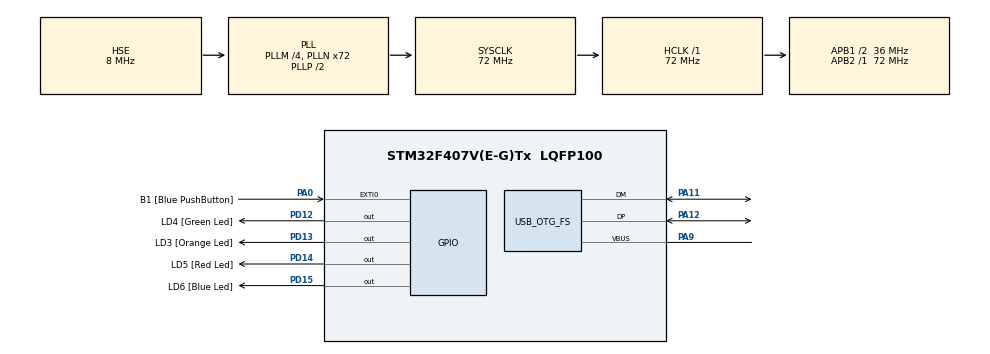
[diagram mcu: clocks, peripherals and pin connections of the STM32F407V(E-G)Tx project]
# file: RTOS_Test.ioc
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FREERTOS.Tasks01=defaultTask,24,128,StartDefaultTask,Default,NULL,Dynamic,NULL,NULL;myTask02,48,128,StartTask02,Default,NULL,Dynamic,NULL,NULL;myTask03,48,128,StartTask03,Default,NULL,Dynamic,NULL,NULL;myTask04,8,128,StartTask04,Default,NULL,Dynamic,NULL,NULL
Mcu.Family=STM32F4
Mcu.Name=STM32F407V(E-G)Tx
Mcu.Package=LQFP100
NVIC.OTG_FS_IRQn=true\:5\:0\:false\:false\:true\:true\:false\:true
NVIC.PriorityGroup=NVIC_PRIORITYGROUP_4
NVIC.TIM1_UP_TIM10_IRQn=true\:0\:0\:false\:false\:true\:false\:false\:true
NVIC.TimeBase=TIM1_UP_TIM10_IRQn
NVIC.TimeBaseIP=TIM1
PA0-WKUP.GPIO_Label=B1 [Blue PushButton]
PA0-WKUP.Signal=GPXTI0
PA11.Mode=Device_Only
PA11.Signal=USB_OTG_FS_DM
PA12.Mode=Device_Only
PA12.Signal=USB_OTG_FS_DP
PA9.Mode=Activate_VBUS
PA9.Signal=USB_OTG_FS_VBUS
PD12.GPIO_Label=LD4 [Green Led]
PD12.GPIO_PuPd=GPIO_NOPULL
PD12.GPIO_Speed=GPIO_SPEED_FREQ_LOW
PD12.Signal=GPIO_Output
PD13.GPIO_Label=LD3 [Orange Led]
PD13.GPIO_PuPd=GPIO_NOPULL
PD13.GPIO_Speed=GPIO_SPEED_FREQ_LOW
PD13.Signal=GPIO_Output
PD14.GPIO_Label=LD5 [Red Led]
PD14.GPIO_PuPd=GPIO_NOPULL
PD14.GPIO_Speed=GPIO_SPEED_FREQ_LOW
PD14.Signal=GPIO_Output
PD15.GPIO_Label=LD6 [Blue Led]
PD15.GPIO_PuPd=GPIO_NOPULL
PD15.GPIO_Speed=GPIO_SPEED_FREQ_LOW
PD15.Signal=GPIO_Output
PH0-OSC_IN.Mode=HSE-External-Oscillator
PH0-OSC_IN.Signal=RCC_OSC_IN
PH1-OSC_OUT.Mode=HSE-External-Oscillator
PH1-OSC_OUT.Signal=RCC_OSC_OUT
ProjectManager.HeapSize=0x200
ProjectManager.StackSize=0x400
ProjectManager.TargetToolchain=Makefile
RCC.48MHZClocksFreq_Value=48000000
RCC.AHBFreq_Value=72000000
RCC.APB1CLKDivider=RCC_HCLK_DIV2
RCC.APB1Freq_Value=36000000
RCC.APB1TimFreq_Value=72000000
RCC.APB2Freq_Value=72000000
RCC.APB2TimFreq_Value=72000000
RCC.CortexFreq_Value=72000000
RCC.HCLKFreq_Value=72000000
RCC.HSE_VALUE=8000000
RCC.HSI_VALUE=16000000
RCC.LSE_VALUE=32768
RCC.PLLM=4
RCC.PLLN=72
RCC.PLLQ=3
RCC.SYSCLKFreq_VALUE=72000000
RCC.SYSCLKSource=RCC_SYSCLKSOURCE_PLLCLK
RCC.VCOOutputFreq_Value=144000000
USB_DEVICE.CLASS_NAME_FS=CDC
USB_DEVICE.VirtualMode-CDC_FS=Cdc
USB_DEVICE.VirtualModeFS=Cdc_FS
USB_OTG_FS.VirtualMode=Device_Only
VP_FREERTOS_VS_CMSIS_V2.Mode=CMSIS_V2
VP_SYS_VS_tim1.Mode=TIM1
VP_USB_DEVICE_VS_USB_DEVICE_CDC_FS.Mode=CDC_FS
board=STM32F407G-DISC1

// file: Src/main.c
/* USER CODE BEGIN Header */
/**
  ******************************************************************************
  * @file           : main.c
  * @brief          : Main program body
  ******************************************************************************
  * @attention
  *
  * <h2><center>&copy; Copyright (c) 2020 STMicroelectronics.
  * All rights reserved.</center></h2>
  *
  * This software component is licensed by ST under Ultimate Liberty license
  * SLA0044, the "License"; You may not use this file except in compliance with
  * the License. You may obtain a copy of the License at:
  *                             www.st.com/SLA0044
  *
  ******************************************************************************
  */
/* USER CODE END Header */

#include "main.h"
#include "cmsis_os.h"
#include "usb_device.h"
#include "usbd_cdc_if.h"

/* Definitions for defaultTask */
osThreadId_t defaultTaskHandle;
const osThreadAttr_t defaultTask_attributes = {
  .name = "defaultTask",
  .priority = (osPriority_t) osPriorityNormal,
  .stack_size = 128 * 4
};
/* Definitions for myTask02 */
osThreadId_t myTask02Handle;
const osThreadAttr_t myTask02_attributes = {
  .name = "myTask02",
  .priority = (osPriority_t) osPriorityRealtime,
  .stack_size = 128 * 4
};
/* Definitions for myTask03 */
osThreadId_t myTask03Handle;
const osThreadAttr_t myTask03_attributes = {
  .name = "myTask03",
  .priority = (osPriority_t) osPriorityRealtime,
  .stack_size = 128 * 4
};
/* Definitions for myTask04 */
osThreadId_t myTask04Handle;
const osThreadAttr_t myTask04_attributes = {
  .name = "myTask04",
  .priority = (osPriority_t) osPriorityLow,
  .stack_size = 128 * 4
};
/* USER CODE BEGIN PV */
osThreadId_t myTask05Handle;
const osThreadAttr_t myTask05_attributes = {
  .name = "myTask05",
  .priority = (osPriority_t) osPriorityLow,
  .stack_size = 128 * 4
};
/* USER CODE END PV */

void SystemClock_Config(void);
static void MX_GPIO_Init(void);
void StartDefaultTask(void *argument);
void StartTask02(void *argument);
void StartTask03(void *argument);
void StartTask04(void *argument);
void StartTask05(void *argument);

/* USER CODE BEGIN 0 */
void vApplicationIdleHook (void){

}
/* USER CODE END 0 */

int main(void)
{

  /* MCU Configuration--------------------------------------------------------*/

  /* Reset of all peripherals, Initializes the Flash interface and the Systick. */
  HAL_Init();

  /* Configure the system clock */
  SystemClock_Config();

  /* Initialize all configured peripherals */
  MX_GPIO_Init();

  /* Init scheduler */
  osKernelInitialize();

  /* Create the thread(s) */
  /* creation of defaultTask */
  defaultTaskHandle = osThreadNew(StartDefaultTask, NULL, &defaultTask_attributes);

  /* creation of myTask02 */
  myTask02Handle = osThreadNew(StartTask02, NULL, &myTask02_attributes);

  /* creation of myTask03 */
  myTask03Handle = osThreadNew(StartTask03, NULL, &myTask03_attributes);

  /* creation of myTask04 */
  myTask04Handle = osThreadNew(StartTask04, NULL, &myTask04_attributes);

  /* USER CODE BEGIN RTOS_THREADS */
  /* creation of myTask05 */
  myTask05Handle = osThreadNew(StartTask05, NULL, &myTask05_attributes);
  /* add threads, ... */
  /* USER CODE END RTOS_THREADS */

  /* Start scheduler */
  osKernelStart();

  /* We should never get here as control is now taken by the scheduler */
  /* Infinite loop */
  while (1)
  {

  }
}

void SystemClock_Config(void)
{
  RCC_OscInitTypeDef RCC_OscInitStruct = {0};
  RCC_ClkInitTypeDef RCC_ClkInitStruct = {0};

  /** Configure the main internal regulator output voltage
  */
  __HAL_RCC_PWR_CLK_ENABLE();
  __HAL_PWR_VOLTAGESCALING_CONFIG(PWR_REGULATOR_VOLTAGE_SCALE1);
  /** Initializes the CPU, AHB and APB busses clocks
  */
  RCC_OscInitStruct.OscillatorType = RCC_OSCILLATORTYPE_HSE;
  RCC_OscInitStruct.HSEState = RCC_HSE_ON;
  RCC_OscInitStruct.PLL.PLLState = RCC_PLL_ON;
  RCC_OscInitStruct.PLL.PLLSource = RCC_PLLSOURCE_HSE;
  RCC_OscInitStruct.PLL.PLLM = 4;
  RCC_OscInitStruct.PLL.PLLN = 72;
  RCC_OscInitStruct.PLL.PLLP = RCC_PLLP_DIV2;
  RCC_OscInitStruct.PLL.PLLQ = 3;
  if (HAL_RCC_OscConfig(&RCC_OscInitStruct) != HAL_OK)
  {
    Error_Handler();
  }
  /** Initializes the CPU, AHB and APB busses clocks
  */
  RCC_ClkInitStruct.ClockType = RCC_CLOCKTYPE_HCLK|RCC_CLOCKTYPE_SYSCLK
                              |RCC_CLOCKTYPE_PCLK1|RCC_CLOCKTYPE_PCLK2;
  RCC_ClkInitStruct.SYSCLKSource = RCC_SYSCLKSOURCE_PLLCLK;
  RCC_ClkInitStruct.AHBCLKDivider = RCC_SYSCLK_DIV1;
  RCC_ClkInitStruct.APB1CLKDivider = RCC_HCLK_DIV2;
  RCC_ClkInitStruct.APB2CLKDivider = RCC_HCLK_DIV1;

  if (HAL_RCC_ClockConfig(&RCC_ClkInitStruct, FLASH_LATENCY_2) != HAL_OK)
  {
    Error_Handler();
  }
}

static void MX_GPIO_Init(void)
{
  GPIO_InitTypeDef GPIO_InitStruct = {0};

  /* GPIO Ports Clock Enable */
  __HAL_RCC_GPIOH_CLK_ENABLE();
  __HAL_RCC_GPIOA_CLK_ENABLE();
  __HAL_RCC_GPIOD_CLK_ENABLE();

  /*Configure GPIO pin Output Level */
  HAL_GPIO_WritePin(GPIOD, LD4_Pin|LD3_Pin|LD5_Pin|LD6_Pin, GPIO_PIN_RESET);

  /*Configure GPIO pin : B1_Pin */
  GPIO_InitStruct.Pin = B1_Pin;
  GPIO_InitStruct.Mode = GPIO_MODE_IT_RISING;
  GPIO_InitStruct.Pull = GPIO_NOPULL;
  HAL_GPIO_Init(B1_GPIO_Port, &GPIO_InitStruct);

  /*Configure GPIO pins : LD4_Pin LD3_Pin LD5_Pin LD6_Pin */
  GPIO_InitStruct.Pin = LD4_Pin|LD3_Pin|LD5_Pin|LD6_Pin;
  GPIO_InitStruct.Mode = GPIO_MODE_OUTPUT_PP;
  GPIO_InitStruct.Pull = GPIO_NOPULL;
  GPIO_InitStruct.Speed = GPIO_SPEED_FREQ_LOW;
  HAL_GPIO_Init(GPIOD, &GPIO_InitStruct);

}

void StartDefaultTask(void *argument)
{
  /* init code for USB_DEVICE */
  MX_USB_DEVICE_Init();
  /* USER CODE BEGIN 5 */
  /* Infinite loop */
  for(;;)
  {
    HAL_GPIO_TogglePin(GPIOD, LD3_Pin);
    osDelay(100);
  }
  /* USER CODE END 5 */
}

void StartTask02(void *argument)
{
  /* USER CODE BEGIN StartTask02 */
  /* Infinite loop */
  for(;;)
  {
    HAL_GPIO_TogglePin(GPIOD, LD4_Pin);
    osDelay(500);
  }
  /* USER CODE END StartTask02 */
}

void StartTask03(void *argument)
{
  /* USER CODE BEGIN StartTask03 */
  /* Infinite loop */
  for(;;)
  {
    HAL_GPIO_TogglePin(GPIOD, LD5_Pin);
    osDelay(250);
  }
  /* USER CODE END StartTask03 */
}

void StartTask04(void *argument)
{
  /* USER CODE BEGIN StartTask04 */
  /* Infinite loop */
  for(;;)
  {
    HAL_GPIO_TogglePin(GPIOD, LD6_Pin);
    osDelay(1000);
  }
  /* USER CODE END StartTask04 */
}

void StartTask05(void *argument)
{
  /* USER CODE BEGIN StartTask04 */
  uint8_t buffer[] = "Hello, World!\n";
  /* Infinite loop */
  for(;;)
  {
    CDC_Transmit_FS(buffer, sizeof(buffer));
    osDelay(1000);
  }
  /* USER CODE END StartTask04 */
}

 /**
  * @brief  Period elapsed callback in non blocking mode
  * @note   This function is called  when TIM1 interrupt took place, inside
  * HAL_TIM_IRQHandler(). It makes a direct call to HAL_IncTick() to increment
  * a global variable "uwTick" used as application time base.
  * @param  htim : TIM handle
  * @retval None
  */
void HAL_TIM_PeriodElapsedCallback(TIM_HandleTypeDef *htim)
{
  if (htim->Instance == TIM1) {
    HAL_IncTick();
  }
}

void Error_Handler(void)
{
}

/************************ (C) COPYRIGHT STMicroelectronics *****END OF FILE****/
